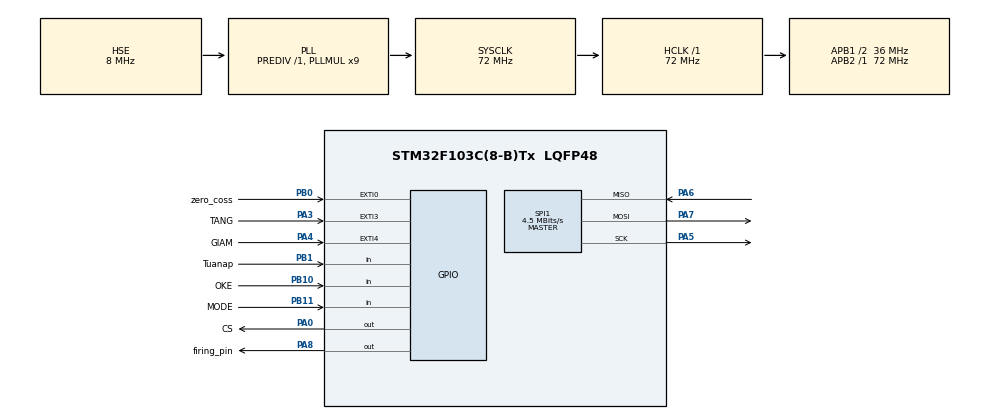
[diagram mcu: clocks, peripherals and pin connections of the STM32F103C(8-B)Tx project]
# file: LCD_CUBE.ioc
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Mcu.Family=STM32F1
Mcu.Name=STM32F103C(8-B)Tx
Mcu.Package=LQFP48
NVIC.EXTI0_IRQn=true\:1\:0\:true\:false\:true\:true\:true\:true
NVIC.EXTI3_IRQn=true\:0\:0\:false\:false\:true\:true\:true\:true
NVIC.EXTI4_IRQn=true\:0\:0\:false\:false\:true\:true\:true\:true
NVIC.PriorityGroup=NVIC_PRIORITYGROUP_4
PA0-WKUP.GPIO_Label=CS
PA0-WKUP.Signal=GPIO_Output
PA13.Mode=Serial_Wire
PA13.Signal=SYS_JTMS-SWDIO
PA14.Mode=Serial_Wire
PA14.Signal=SYS_JTCK-SWCLK
PA3.GPIO_Label=TANG
PA3.GPIO_ModeDefaultEXTI=GPIO_MODE_IT_FALLING
PA3.GPIO_PuPd=GPIO_PULLUP
PA3.Signal=GPXTI3
PA4.GPIO_Label=GIAM
PA4.GPIO_ModeDefaultEXTI=GPIO_MODE_IT_FALLING
PA4.GPIO_PuPd=GPIO_PULLUP
PA4.Signal=GPXTI4
PA5.Mode=Full_Duplex_Master
PA5.Signal=SPI1_SCK
PA6.Mode=Full_Duplex_Master
PA6.Signal=SPI1_MISO
PA7.Mode=Full_Duplex_Master
PA7.Signal=SPI1_MOSI
PA8.GPIO_Label=firing_pin
PA8.GPIO_Speed=GPIO_SPEED_FREQ_LOW
PA8.Signal=GPIO_Output
PB0.GPIO_Label=zero_coss
PB0.GPIO_ModeDefaultEXTI=GPIO_MODE_IT_FALLING
PB0.GPIO_PuPd=GPIO_NOPULL
PB0.Signal=GPXTI0
PB1.GPIO_Label=Tuanap
PB1.GPIO_PuPd=GPIO_PULLUP
PB1.Signal=GPIO_Input
PB10.GPIO_Label=OKE
PB10.GPIO_PuPd=GPIO_PULLUP
PB10.Signal=GPIO_Input
PB11.GPIO_Label=MODE
PB11.GPIO_PuPd=GPIO_PULLUP
PB11.Signal=GPIO_Input
PD0-OSC_IN.Mode=HSE-External-Oscillator
PD0-OSC_IN.Signal=RCC_OSC_IN
PD1-OSC_OUT.Mode=HSE-External-Oscillator
PD1-OSC_OUT.Signal=RCC_OSC_OUT
ProjectManager.HeapSize=0x200
ProjectManager.StackSize=0x400
ProjectManager.TargetToolchain=STM32CubeIDE
RCC.AHBFreq_Value=72000000
RCC.APB1CLKDivider=RCC_HCLK_DIV2
RCC.APB1Freq_Value=36000000
RCC.APB1TimFreq_Value=72000000
RCC.APB2Freq_Value=72000000
RCC.APB2TimFreq_Value=72000000
RCC.HCLKFreq_Value=72000000
RCC.PLLMUL=RCC_PLL_MUL9
RCC.PLLSourceVirtual=RCC_PLLSOURCE_HSE
RCC.SYSCLKFreq_VALUE=72000000
RCC.SYSCLKSource=RCC_SYSCLKSOURCE_PLLCLK
RCC.USBFreq_Value=72000000
SPI1.BaudRatePrescaler=SPI_BAUDRATEPRESCALER_16
SPI1.CLKPhase=SPI_PHASE_2EDGE
SPI1.CalculateBaudRate=4.5 MBits/s
SPI1.DataSize=SPI_DATASIZE_8BIT
SPI1.Direction=SPI_DIRECTION_2LINES
SPI1.Mode=SPI_MODE_MASTER
SPI1.VirtualType=VM_MASTER
TIM2.CounterMode=TIM_COUNTERMODE_UP
TIM2.Period=0xffff-1
TIM2.Prescaler=71
VP_TIM2_VS_ClockSourceINT.Mode=Internal
board=custom

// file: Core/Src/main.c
/* USER CODE BEGIN Header */
/**
  ******************************************************************************
  * @file           : main.c
  * @brief          : Main program body
  ******************************************************************************
  * @attention
  *
  * Copyright (c) 2023 STMicroelectronics.
  * All rights reserved.
  *
  * This software is licensed under terms that can be found in the LICENSE file
  * in the root directory of this software component.
  * If no LICENSE file comes with this software, it is provided AS-IS.
  *
  ******************************************************************************
  */
/* USER CODE END Header */
#include "main.h"

/* USER CODE BEGIN Includes */
#include "lcd_16x2.h";
#include "MAX31865_lib.h"
#include <stdio.h>
#include <string.h>
/* USER CODE END Includes */

/* USER CODE BEGIN PTD */
#define TUANAP HAL_GPIO_ReadPin(GPIOB, Tuanap_Pin)
#define MODE HAL_GPIO_ReadPin(GPIOB, MODE_Pin)
#define OKE HAL_GPIO_ReadPin(GPIOB, OKE_Pin)
float PT100_Temperature = 0.0f;
unsigned long thoigian;
char chuoi[12];
char chuoi1[12];
int cong=0;
bool zero_cross_detected = false;
bool tuanap = 0;
bool mode = 0;
bool oke = 0;
bool oke1 = 0;
bool fix = 0;
bool fix_oke=0;
int max_firing_delay =8300;
uint8_t sotuan = 1;

 float setpoint = 40.0f;
//PID variables
float PID_error = 0;
float previous_error = 0;
float elapsedTime, Time, timePrev;
int PID_value = 0;
//PID constants
int kp = 300;
float ki = 3;
int kd = 400;
float PID_p = 0;
float PID_i = 0;
float PID_d = 0;
/* USER CODE END PTD */

/* USER CODE BEGIN PD */
uint8_t doC[8] = {0x07,0x05,0x07,0x00,0x00,0x00,0x00,0x00};
uint8_t pixeltemp[8] = {0x04,0x0A,0x0A,0x0A,0x15,0x1F,0x15,0x0E};
uint16_t dem = 0;
uint16_t dem1 = 0;
uint16_t dem2 = 0;
/* USER CODE END PD */

SPI_HandleTypeDef hspi1;

TIM_HandleTypeDef htim2;

void SystemClock_Config(void);
static void MX_GPIO_Init(void);
static void MX_SPI1_Init(void);
static void MX_TIM2_Init(void);

int main(void)
{

  /* MCU Configuration--------------------------------------------------------*/

  /* Reset of all peripherals, Initializes the Flash interface and the Systick. */
    HAL_Init();

  /* USER CODE BEGIN Init */
  Lcd_Init();
  /* USER CODE END Init */

  /* Configure the system clock */
  SystemClock_Config();

  /* Initialize all configured peripherals */
  MX_GPIO_Init();
  MX_SPI1_Init();
  MX_TIM2_Init();
  /* USER CODE BEGIN 2 */
Lcd_clear_display();
//Lcd_write_string("Khanh dep trai");
//HAL_Delay(500);
MAX31865_Init(3);
Lcd_create_custom_char(0, doC);
Lcd_create_custom_char(1, pixeltemp);
HAL_TIM_Base_Start(&htim2);
//Lcd_clear_display();
  /* USER CODE END 2 */

  /* Infinite loop */
  while (1)
  {

    /* USER CODE BEGIN 3 */
	  Lcd_gotoxy(1, 0);
	  Lcd_write_string("BUONG AP TRUNG");
	  Lcd_gotoxy(1, 1);
	  Lcd_write_string("TUAN AP");
	  Lcd_gotoxy(9, 1);
	  Lcd_write_string("|");
	  Lcd_gotoxy(11, 1);
	  Lcd_write_string("MODE");
		  if(TUANAP == 0)
			  {
				  while(TUANAP==0);
				  Lcd_clear_display();
				  tuanap = 1;
			  }
		  if(MODE == 0)
		  {
			  while(MODE ==0);
			  Lcd_clear_display();
			  mode = 1;
			  Lcd_gotoxy(1,0);
			  Lcd_write_string("CAI DAT: ");
			  Lcd_gotoxy(11,0);
			  Lcd_write_int(setpoint);
			  Lcd_write_custom_char(13, 0, 0);
			  Lcd_gotoxy(14,0);
			  Lcd_write_string("C");
		  }
		  while(mode == 1)
		  {
			  Lcd_gotoxy(11,0);
			  Lcd_write_int(setpoint);
			  Lcd_gotoxy(3,1);
			  Lcd_write_string("START = OKE");
			  if(OKE == 0)
			  			  {
			  				  while(OKE ==0);
			  				  Lcd_clear_display();
			  				  mode = 0;
			  				Lcd_gotoxy(1,1);
			  				Lcd_write_string("CAI DAT: ");
			  				Lcd_gotoxy(10,1);
			  				Lcd_write_int(setpoint);
			  				Lcd_write_custom_char(13, 1, 0);
			  				Lcd_gotoxy(14,1);
			  				Lcd_write_string("C");
			  				  oke1 = 1;
			  				  break;
			  			  }
		  }
		  while(oke1 ==1)
		  {
			  PID_Temp();
			  Lcd_gotoxy(10,1);
			  Lcd_write_int(setpoint);
		  }
		  while(tuanap == 1)
		  {
			  Lcd_gotoxy(0,0);
			  Lcd_write_string("TUAN AP=");
			  Lcd_gotoxy(8,0);
			  Lcd_write_int(sotuan);
			  Lcd_gotoxy(9,0);
			  Lcd_write_string("|");
			  Lcd_write_custom_char(10,0, 1);
			  Lcd_gotoxy(11,0);
			  Lcd_write_string("=");

			  Lcd_gotoxy(3,1);
			  Lcd_write_string("START = OKE");
			  if(TUANAP == 0)
			  {
				  while(TUANAP==0);
				  sotuan++;
				  if(sotuan >3)
				  {
				  	sotuan = 1;

				  }

			  }
			  if(sotuan ==1)
			  {
			 	setpoint = 37.8;
			 	Lcd_gotoxy(12,0);
			 	sprintf(chuoi1,"%.2f",setpoint);
			 	Lcd_write_string(chuoi1);
			 	}
			  else if(sotuan == 2)
			 	{
			 		setpoint = 37.5;
			 		Lcd_gotoxy(12,0);
			 		sprintf(chuoi1,"%.2f",setpoint);
			 		Lcd_write_string(chuoi1);
			 	}
			 else if(sotuan == 3)
			 	{
			 	setpoint = 37.2;
			 	Lcd_gotoxy(12,0);
			 	sprintf(chuoi1,"%.2f",setpoint);
			 	Lcd_write_string(chuoi1);
			 	}
			  if(OKE == 0)
			  {
				  while(OKE ==0);
				  Lcd_clear_display();
				  tuanap = 0;
				  oke = 1;
				  Lcd_gotoxy(0, 1);
				  Lcd_write_string("SET_TEMP: ");
				  Lcd_gotoxy(10,1);
				  sprintf(chuoi1,"%.1f",setpoint);
				  Lcd_write_string(chuoi1);
				  Lcd_write_custom_char(14, 1, 0);
				  	Lcd_gotoxy(15,1);
				  	Lcd_write_string("C");
				  break;
			  }
		  }
		  while(oke == 1)
		  {

			  PID_Temp();

		  }

  }
  /* USER CODE END 3 */
}

void SystemClock_Config(void)
{
  RCC_OscInitTypeDef RCC_OscInitStruct = {0};
  RCC_ClkInitTypeDef RCC_ClkInitStruct = {0};

  /** Initializes the RCC Oscillators according to the specified parameters
  * in the RCC_OscInitTypeDef structure.
  */
  RCC_OscInitStruct.OscillatorType = RCC_OSCILLATORTYPE_HSE;
  RCC_OscInitStruct.HSEState = RCC_HSE_ON;
  RCC_OscInitStruct.HSEPredivValue = RCC_HSE_PREDIV_DIV1;
  RCC_OscInitStruct.HSIState = RCC_HSI_ON;
  RCC_OscInitStruct.PLL.PLLState = RCC_PLL_ON;
  RCC_OscInitStruct.PLL.PLLSource = RCC_PLLSOURCE_HSE;
  RCC_OscInitStruct.PLL.PLLMUL = RCC_PLL_MUL9;
  if (HAL_RCC_OscConfig(&RCC_OscInitStruct) != HAL_OK)
  {
    Error_Handler();
  }

  /** Initializes the CPU, AHB and APB buses clocks
  */
  RCC_ClkInitStruct.ClockType = RCC_CLOCKTYPE_HCLK|RCC_CLOCKTYPE_SYSCLK
                              |RCC_CLOCKTYPE_PCLK1|RCC_CLOCKTYPE_PCLK2;
  RCC_ClkInitStruct.SYSCLKSource = RCC_SYSCLKSOURCE_PLLCLK;
  RCC_ClkInitStruct.AHBCLKDivider = RCC_SYSCLK_DIV1;
  RCC_ClkInitStruct.APB1CLKDivider = RCC_HCLK_DIV2;
  RCC_ClkInitStruct.APB2CLKDivider = RCC_HCLK_DIV1;

  if (HAL_RCC_ClockConfig(&RCC_ClkInitStruct, FLASH_LATENCY_2) != HAL_OK)
  {
    Error_Handler();
  }
}

static void MX_SPI1_Init(void)
{

  /* SPI1 parameter configuration*/
  hspi1.Instance = SPI1;
  hspi1.Init.Mode = SPI_MODE_MASTER;
  hspi1.Init.Direction = SPI_DIRECTION_2LINES;
  hspi1.Init.DataSize = SPI_DATASIZE_8BIT;
  hspi1.Init.CLKPolarity = SPI_POLARITY_LOW;
  hspi1.Init.CLKPhase = SPI_PHASE_2EDGE;
  hspi1.Init.NSS = SPI_NSS_SOFT;
  hspi1.Init.BaudRatePrescaler = SPI_BAUDRATEPRESCALER_16;
  hspi1.Init.FirstBit = SPI_FIRSTBIT_MSB;
  hspi1.Init.TIMode = SPI_TIMODE_DISABLE;
  hspi1.Init.CRCCalculation = SPI_CRCCALCULATION_DISABLE;
  hspi1.Init.CRCPolynomial = 10;
  if (HAL_SPI_Init(&hspi1) != HAL_OK)
  {
    Error_Handler();
  }

}

static void MX_TIM2_Init(void)
{

  TIM_ClockConfigTypeDef sClockSourceConfig = {0};
  TIM_MasterConfigTypeDef sMasterConfig = {0};

  htim2.Instance = TIM2;
  htim2.Init.Prescaler = 71;
  htim2.Init.CounterMode = TIM_COUNTERMODE_UP;
  htim2.Init.Period = 0xffff-1;
  htim2.Init.ClockDivision = TIM_CLOCKDIVISION_DIV1;
  htim2.Init.AutoReloadPreload = TIM_AUTORELOAD_PRELOAD_DISABLE;
  if (HAL_TIM_Base_Init(&htim2) != HAL_OK)
  {
    Error_Handler();
  }
  sClockSourceConfig.ClockSource = TIM_CLOCKSOURCE_INTERNAL;
  if (HAL_TIM_ConfigClockSource(&htim2, &sClockSourceConfig) != HAL_OK)
  {
    Error_Handler();
  }
  sMasterConfig.MasterOutputTrigger = TIM_TRGO_RESET;
  sMasterConfig.MasterSlaveMode = TIM_MASTERSLAVEMODE_DISABLE;
  if (HAL_TIMEx_MasterConfigSynchronization(&htim2, &sMasterConfig) != HAL_OK)
  {
    Error_Handler();
  }

}

static void MX_GPIO_Init(void)
{
  GPIO_InitTypeDef GPIO_InitStruct = {0};

  /* GPIO Ports Clock Enable */
  __HAL_RCC_GPIOD_CLK_ENABLE();
  __HAL_RCC_GPIOA_CLK_ENABLE();
  __HAL_RCC_GPIOB_CLK_ENABLE();

  /*Configure GPIO pin Output Level */
  HAL_GPIO_WritePin(GPIOA, CS_Pin|firing_pin_Pin, GPIO_PIN_RESET);

  /*Configure GPIO pins : CS_Pin firing_pin_Pin */
  GPIO_InitStruct.Pin = CS_Pin|firing_pin_Pin;
  GPIO_InitStruct.Mode = GPIO_MODE_OUTPUT_PP;
  GPIO_InitStruct.Pull = GPIO_NOPULL;
  GPIO_InitStruct.Speed = GPIO_SPEED_FREQ_LOW;
  HAL_GPIO_Init(GPIOA, &GPIO_InitStruct);

  /*Configure GPIO pins : TANG_Pin GIAM_Pin */
  GPIO_InitStruct.Pin = TANG_Pin|GIAM_Pin;
  GPIO_InitStruct.Mode = GPIO_MODE_IT_FALLING;
  GPIO_InitStruct.Pull = GPIO_PULLUP;
  HAL_GPIO_Init(GPIOA, &GPIO_InitStruct);

  /*Configure GPIO pin : zero_coss_Pin */
  GPIO_InitStruct.Pin = zero_coss_Pin;
  GPIO_InitStruct.Mode = GPIO_MODE_IT_FALLING;
  GPIO_InitStruct.Pull = GPIO_NOPULL;
  HAL_GPIO_Init(zero_coss_GPIO_Port, &GPIO_InitStruct);

  /*Configure GPIO pins : Tuanap_Pin OKE_Pin MODE_Pin */
  GPIO_InitStruct.Pin = Tuanap_Pin|OKE_Pin|MODE_Pin;
  GPIO_InitStruct.Mode = GPIO_MODE_INPUT;
  GPIO_InitStruct.Pull = GPIO_PULLUP;
  HAL_GPIO_Init(GPIOB, &GPIO_InitStruct);

  /* EXTI interrupt init*/
  HAL_NVIC_SetPriority(EXTI0_IRQn, 1, 0);
  HAL_NVIC_EnableIRQ(EXTI0_IRQn);

  HAL_NVIC_SetPriority(EXTI3_IRQn, 0, 0);
  HAL_NVIC_EnableIRQ(EXTI3_IRQn);

  HAL_NVIC_SetPriority(EXTI4_IRQn, 0, 0);
  HAL_NVIC_EnableIRQ(EXTI4_IRQn);

}

/* USER CODE BEGIN 4 */
// ham PID nhietdo
void PID_Temp()
{
	if (HAL_GetTick() - thoigian >= 500) {
			  timePrev = Time;
			  thoigian = HAL_GetTick();
		  			PT100_Temperature = MAX31865_Get_Temperature();

		  			PID_error = setpoint - PT100_Temperature ;  //Calculate the pid ERROR

		  			    if (PID_error > 3.1)  //integral constant will only affect errors below 30ºC
		  			    { PID_i = 0; }

		  			    PID_p = kp * PID_error;            //Calculate the P value
		  			    PID_i = PID_i + (ki * PID_error);  //Calculate the I value
		  			   // timePrev = Time;                   // the previous time is stored before the actual time read
		  			    Time = HAL_GetTick();                   // actual time read
		  			    elapsedTime = (Time - timePrev) / 1000;
		  			    PID_d = kd * ((PID_error - previous_error) / elapsedTime);  //Calculate the D value
		  			    PID_value = PID_p + PID_i + PID_d;                          //Calculate total PID value

		  			    //We define firing delay range between 0 and 8300. Read above why 8300!!!!!!!
		  			    if (PID_value < 0) { PID_value = 0; }
		  			    if (PID_value > 8300) { PID_value = 8300; }
		  			    realTemp_LCD();
		  			  previous_error = PID_error;
		  }
				  if (zero_cross_detected) {
					  delay_us(max_firing_delay - PID_value);
					  if((PT100_Temperature >= setpoint-0.2)&& fix==0)
			  					  {
			  						HAL_GPIO_WritePin(GPIOA, GPIO_PIN_8, 0);
			  						HAL_Delay(3000);
			  						fix = 1;
			  						fix_oke = 1;
			  					  }
					  if(PT100_Temperature >= setpoint && fix_oke == 1){
			  					  HAL_GPIO_WritePin(GPIOA, GPIO_PIN_8, 0);
			  					  }else{HAL_GPIO_WritePin(GPIOA, GPIO_PIN_8, 1);}
			  			delay_us(100);
					  HAL_GPIO_WritePin(GPIOA, GPIO_PIN_8, 0);
					  zero_cross_detected = 0;

				  }
}

void realTemp_LCD()
{
	Lcd_write_custom_char(3,0, 1);
	Lcd_gotoxy(5,0);
	Lcd_write_string("=");
	Lcd_gotoxy(7,0);
	sprintf(chuoi,"%.2f",PT100_Temperature);
	Lcd_write_string(chuoi);
	Lcd_write_custom_char(12, 0, 0);
	Lcd_gotoxy(13,0);
	Lcd_write_string("C");
}
void EXTI0_IRQHandler(void)
{
  /* USER CODE BEGIN EXTI0_IRQn 0 */

  /* USER CODE END EXTI0_IRQn 0 */
  HAL_GPIO_EXTI_IRQHandler(GPIO_PIN_0);
  /* USER CODE BEGIN EXTI0_IRQn 1 */
//HAL_GPIO_WritePin(GPIOC, GPIO_PIN_13, 1);
  if(HAL_GPIO_ReadPin(GPIOB, GPIO_PIN_0) == 0)
  {
	  zero_cross_detected = 1;
	  cong++;
  }
  /* USER CODE END EXTI0_IRQn 1 */
}

void EXTI3_IRQHandler(void)
{
  /* USER CODE BEGIN EXTI3_IRQn 0 */

  /* USER CODE END EXTI3_IRQn 0 */
  HAL_GPIO_EXTI_IRQHandler(TANG_Pin);
  /* USER CODE BEGIN EXTI3_IRQn 1 */
  if(HAL_GPIO_ReadPin(GPIOA, TANG_Pin) == 0){
    	for(int i = 500000; i>0; i--);

    	if(HAL_GPIO_ReadPin(GPIOA, TANG_Pin) == 0){
    	  setpoint+=2;

    	  __HAL_GPIO_EXTI_CLEAR_IT(GPIO_PIN_3);
    	 HAL_NVIC_ClearPendingIRQ(EXTI3_IRQn);
    	 while(HAL_GPIO_ReadPin(GPIOA, TANG_Pin) == 0);

    }
    }
  /* USER CODE END EXTI3_IRQn 1 */
}
/**
  * @brief This function handles EXTI line4 interrupt.
  */
void EXTI4_IRQHandler(void)
{
  /* USER CODE BEGIN EXTI4_IRQn 0 */

  /* USER CODE END EXTI4_IRQn 0 */
  HAL_GPIO_EXTI_IRQHandler(GIAM_Pin);
  /* USER CODE BEGIN EXTI4_IRQn 1 */
  if(HAL_GPIO_ReadPin(GPIOA, GIAM_Pin) == 0){
  	for(int i = 500000; i>0; i--);

  	if(HAL_GPIO_ReadPin(GPIOA, GIAM_Pin) == 0){
  	  setpoint-=2;

  	  __HAL_GPIO_EXTI_CLEAR_IT(GPIO_PIN_4);
  	 HAL_NVIC_ClearPendingIRQ(EXTI4_IRQn);
  	 while(HAL_GPIO_ReadPin(GPIOA, GIAM_Pin) == 0);

  }
  }
  /* USER CODE END EXTI4_IRQn 1 */
}
void delay_us (uint16_t us)
{
    __HAL_TIM_SET_COUNTER(&htim2,0);  // set the counter value a 0
    while (__HAL_TIM_GET_COUNTER(&htim2) < us);  // wait for the counter to reach the us input in the parameter
}
/* USER CODE END 4 */

void Error_Handler(void)
{
  __disable_irq();
  while (1)
  {
  }
}
